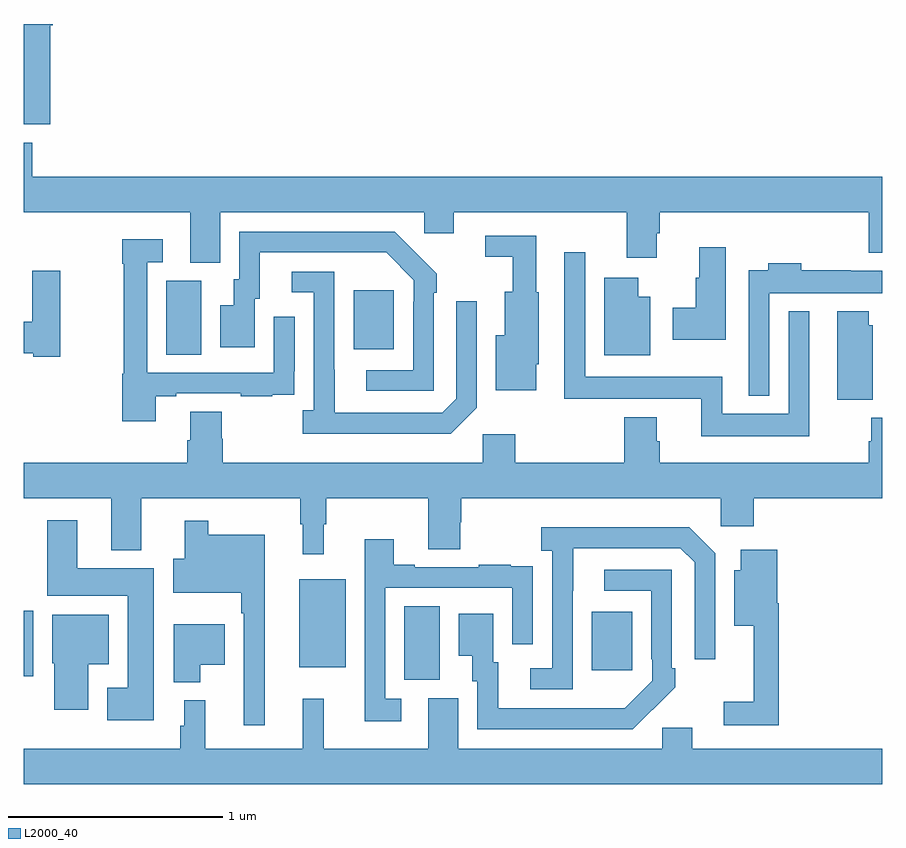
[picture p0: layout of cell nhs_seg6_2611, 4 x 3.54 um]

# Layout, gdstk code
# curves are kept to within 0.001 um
import gdstk
lib = gdstk.Library(unit=1e-6, precision=1e-09)
def R(c, l, rs):  # rectangles x0, y0, x1, y1
    for r in rs: c.add(gdstk.rectangle(r[:2], r[2:], *l))
def P(c, l, *ps):  # polygons
    for p in ps: c.add(gdstk.Polygon(p, *l))
L2000_40 = (2000, 40)

nhs_seg6_2611 = lib.new_cell('nhs_seg6_2611')
R(nhs_seg6_2611, L2000_40, [(266.774,990.445,266.938,990.788), (265,990.461,265.045,990.766), (267.647,990.489,267.835,990.763), (266.285,990.503,266.5,990.913), (265.664,991.96,265.828,992.304), (266.537,991.985,266.725,992.26)])
P(nhs_seg6_2611, L2000_40, [(265.123,993.494),(265.136,993.494),(265.136,993.5),(265,993.5),(265,993.032),(265.123,993.032)],
  [(265.915,992.624),(266.865,992.624),(266.865,992.526),(267.004,992.526),(267.004,992.624),(267.809,992.624),(267.809,992.412),(267.949,992.412),(267.949,992.526),(267.962,992.526),(267.962,992.624),(268.937,992.624),(268.937,992.435),(269,992.435),(269,992.788),(265.04,992.788),(265.04,992.947),(265,992.947),(265,992.624),(265.775,992.624),(265.775,992.389),(265.915,992.389)],
  [(266.91,992.249),(266.925,992.249),(266.925,992.337),(266.728,992.532),(266.004,992.532),(266.004,992.31),(265.979,992.31),(265.979,992.191),(265.916,992.191),(265.916,991.995),(266.077,991.995),(266.077,992.22),(266.101,992.22),(266.101,992.436),(266.689,992.436),(266.817,992.307),(266.817,992.207),(266.814,992.207),(266.814,991.887),(266.595,991.887),(266.595,991.791),(266.91,991.791)],
  [(267.388,991.914),(267.4,991.914),(267.4,992.25),(267.388,992.25),(267.388,992.514),(267.15,992.514),(267.15,992.417),(267.279,992.417),(267.279,992.254),(267.242,992.254),(267.242,992.05),(267.2,992.05),(267.2,991.793),(267.388,991.793)],
  [(265.615,991.767),(265.711,991.767),(265.711,991.779),(266.011,991.779),(266.011,991.767),(266.159,991.767),(266.159,991.773),(266.261,991.773),(266.261,991.882),(266.262,991.882),(266.262,992.137),(266.166,992.137),(266.166,991.875),(265.575,991.875),(265.575,992.391),(265.648,992.391),(265.648,992.497),(265.459,992.497),(265.459,992.384),(265.467,992.384),(265.467,991.872),(265.459,991.872),(265.459,991.65),(265.615,991.65)],
  [(268.27,992.461),(268.148,992.461),(268.148,992.319),(268.13,992.319),(268.13,992.178),(268.023,992.178),(268.023,992.03),(268.27,992.03)],
  [(268.66,992.161),(268.563,992.161),(268.563,991.684),(268.254,991.684),(268.254,991.858),(267.615,991.858),(267.615,992.437),(267.519,992.437),(267.519,991.754),(268.157,991.754),(268.157,991.58),(268.66,991.58)],
  [(268.473,992.246),(269,992.246),(269,992.35),(268.853,992.35),(268.853,992.353),(268.622,992.353),(268.622,992.386),(268.469,992.386),(268.469,992.353),(268.377,992.353),(268.377,991.769),(268.473,991.769)],
  [(265.17,992.35),(265.04,992.35),(265.04,992.114),(265,992.114),(265,991.967),(265.044,991.967),(265.044,991.949),(265.17,991.949)],
  [(267.111,991.713),(267.111,992.209),(267.015,992.209),(267.015,991.755),(266.949,991.689),(266.449,991.689),(266.448,992.346),(266.25,992.346),(266.25,992.25),(266.352,992.25),(266.352,991.702),(266.301,991.702),(266.301,991.592),(266.99,991.592)],
  [(267.919,992.23),(267.862,992.23),(267.862,992.317),(267.704,992.317),(267.704,991.958),(267.919,991.958)],
  [(268.954,992.097),(268.936,992.097),(268.936,992.161),(268.79,992.161),(268.79,991.75),(268.954,991.75)],
  [(265.928,991.569),(265.923,991.569),(265.923,991.694),(265.775,991.694),(265.775,991.562),(265.763,991.562),(265.763,991.456),(265,991.456),(265,991.292),(265.409,991.292),(265.409,991.049),(265.549,991.049),(265.549,991.292),(266.289,991.292),(266.289,991.169),(266.3,991.169),(266.3,991.029),(266.399,991.029),(266.399,991.169),(266.41,991.169),(266.41,991.292),(266.885,991.292),(266.885,991.054),(267.033,991.054),(267.033,991.179),(267.038,991.179),(267.038,991.292),(268.248,991.292),(268.248,991.161),(268.4,991.161),(268.4,991.292),(269,991.292),(269,991.665),(268.949,991.665),(268.949,991.556),(268.937,991.556),(268.937,991.456),(267.962,991.456),(267.962,991.557),(267.949,991.557),(267.949,991.669),(267.797,991.669),(267.797,991.456),(267.29,991.456),(267.29,991.588),(267.138,991.588),(267.138,991.456),(265.928,991.456)],
  [(265.606,990.964),(265.249,990.964),(265.249,991.189),(265.109,991.189),(265.109,990.836),(265.484,990.836),(265.484,990.409),(265.389,990.409),(265.389,990.257),(265.606,990.257)],
  [(266.122,991.12),(265.861,991.12),(265.861,991.186),(265.751,991.186),(265.751,991.009),(265.698,991.009),(265.698,990.851),(266.013,990.851),(266.013,990.755),(266.025,990.755),(266.025,990.234),(266.122,990.234)],
  [(267.558,990.859),(267.559,991.059),(268.059,991.059),(268.125,990.993),(268.125,990.54),(268.221,990.54),(268.221,991.035),(268.1,991.156),(267.411,991.156),(267.411,991.046),(267.462,991.046),(267.462,990.498),(267.36,990.498),(267.36,990.402),(267.558,990.402)],
  [(266.758,990.357),(266.685,990.357),(266.685,990.873),(267.276,990.873),(267.276,990.612),(267.372,990.612),(267.372,990.866),(267.371,990.866),(267.371,990.975),(267.269,990.975),(267.269,990.982),(267.121,990.982),(267.121,990.969),(266.821,990.969),(266.821,990.982),(266.725,990.982),(266.725,991.099),(266.589,991.099),(266.589,990.252),(266.758,990.252)],
  [(268.517,990.802),(268.511,990.802),(268.511,991.051),(268.34,991.051),(268.34,990.955),(268.31,990.955),(268.31,990.698),(268.4,990.698),(268.4,990.343),(268.26,990.343),(268.26,990.234),(268.517,990.234)],
  [(267.929,990.307),(267.93,990.306),(268.035,990.411),(268.035,990.499),(268.02,990.499),(268.02,990.957),(267.705,990.957),(267.705,990.861),(267.924,990.861),(267.924,990.541),(267.927,990.541),(267.927,990.441),(267.799,990.313),(267.211,990.312),(267.211,990.528),(267.187,990.528),(267.187,990.754),(267.026,990.754),(267.026,990.557),(267.089,990.557),(267.089,990.438),(267.114,990.438),(267.114,990.216),(267.838,990.216)],
  [(265.3,990.518),(265.396,990.518),(265.396,990.748),(265.133,990.748),(265.133,990.522),(265.142,990.522),(265.142,990.306),(265.3,990.306)],
  [(265.822,990.515),(265.936,990.515),(265.936,990.703),(265.7,990.703),(265.7,990.434),(265.822,990.434)],
  [(266.3,990.358),(266.3,990.124),(265.847,990.124),(265.847,990.349),(265.748,990.349),(265.748,990.231),(265.729,990.231),(265.729,990.124),(265,990.124),(265,989.96),(269,989.96),(269,990.124),(268.114,990.124),(268.114,990.222),(267.975,990.222),(267.975,990.124),(267.025,990.124),(267.025,990.36),(266.885,990.36),(266.885,990.124),(266.399,990.124),(266.399,990.358)])

lib.write_gds('nhs_seg6_2611.gds')
